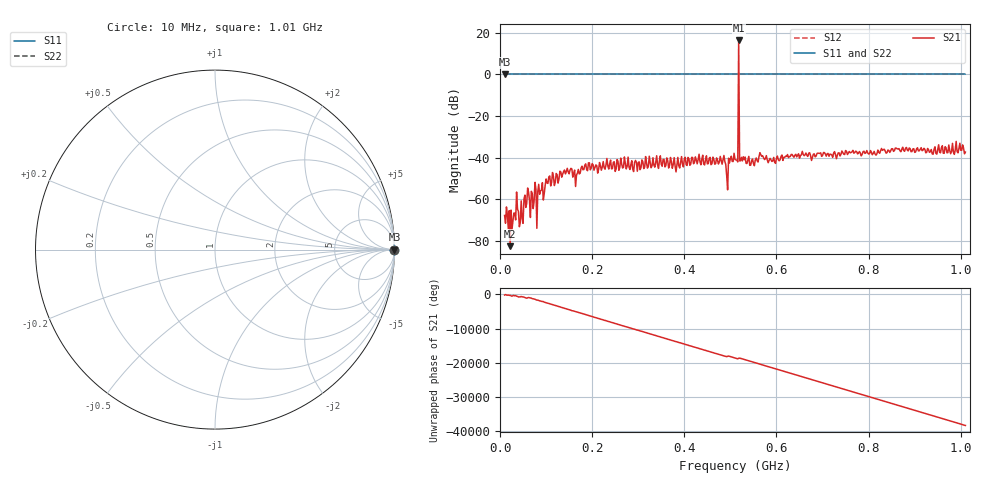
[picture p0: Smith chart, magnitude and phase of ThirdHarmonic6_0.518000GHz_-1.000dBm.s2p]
! 8/15/2025 3:55:10 PM
! C:\ANRITSUVNA\TEMP\TEMP.S2P
! CHANNEL.1
! TR.MEASUREMENT
! RAW.DATA
! RF.CORRECTION.OFF
! AVERAGING.OFF
! IF.BANDWIDTH: 5KHZ
! SWEEPTYPE:  FREQ.SWEEP(Linear)
! Reference Plane Port Info
! PORT:  PORT1  PORT2
! DISTANCE:  0  m  0  m
! TIME:  0  s  0  s
! PHASE.OFFSET:  0  deg.  0  deg.
! LOSS:  0  dB  0  dB
! REF.LOSS:  0  dB  0  dB
! REF.FREQ:  0  Hz  0  Hz
! Power Info
! POWER:  -20  dBm  -20  dBm
! EFF.POWER:  -20  dBm  -20  dBm
! SOURCE.ATTEN:  0  dB  0  dB
! TEST.ATTEN:  0  dB  0  dB
# GHZ S RI R 50.0
! FREQ.GHZ  S11RE  S11IM  S21RE  S21IM  S12RE  S12IM  S22RE  S22IM
!; PortSelection: Port_12
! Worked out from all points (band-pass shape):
!   501 points, 10 MHz to 1.01 GHz, reference 50 ohm
!   highest |S21| = 16.24 dB at 518 MHz (marker M1); lowest = -82.6 dB at 22 MHz (marker M2)
!   |S21| within 3 dB of the highest: 517.8972 MHz to 518.1037 MHz (206.5 kHz wide, 0.0399 % of centre)
!   lowest |S11| = 0.0 dB at 10 MHz (marker M3)
!   |S11| at or under -10 dB: nowhere
!   |S22| runs from 0.0 to 0.0 dB; largest |S21 - S12| = 6.8
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0.01  1 0  -0.0004 -6.95e-05  1 0  1 0
0.022  1 0  -1.18e-05 7.33e-05  1 0  1 0
0.034  1 0  0.000249 0.000196  1 0  1 0
0.046  1 0  -0.000649 0.000638  1 0  1 0
0.058  1 0  0.000796 -1.91e-05  1 0  1 0
0.074  1 0  -8.96e-05 0.000893  1 0  1 0
0.076  1 0  0.00202 0.00153  1 0  1 0
0.104  1 0  0.00194 -0.00139  1 0  1 0
0.178  1 0  -0.00603 -0.00134  1 0  1 0
0.344  1 0  0.00547 0.00029  1 0  1 0
0.482  1 0  -0.00489 -0.0049  1 0  1 0
0.494  1 0  0.000885 -0.00142  1 0  1 0
0.5  1 0  -0.00568 -0.00763  1 0  1 0
0.51  1 0  -0.00901 0.000477  1 0  1 0
0.512  1 0  -0.000641 0.00872  1 0  1 0
0.514  1 0  0.00782 0.00384  1 0  1 0
0.518  1 0  -1.261 6.36  1 0  1 0
0.522  1 0  0.00371 0.00749  1 0  1 0
0.524  1 0  0.0091 -0.00431  1 0  1 0
0.678  1 0  0.00411 -0.00922  1 0  1 0
0.844  1 0  -0.00126 0.0146  1 0  1 0
1.01  1 0  0.0014 -0.0134  1 0  1 0
